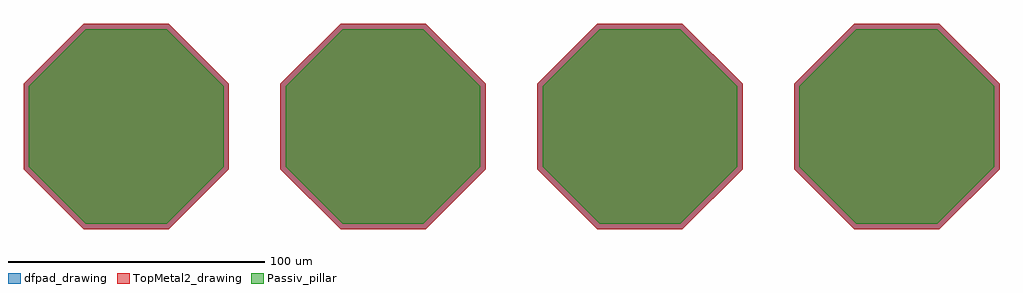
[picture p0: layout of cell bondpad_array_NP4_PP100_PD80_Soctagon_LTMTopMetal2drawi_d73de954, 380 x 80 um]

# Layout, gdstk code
import gdstk
lib = gdstk.Library(unit=1e-6, precision=1e-09)
def P(c, l, *ps):  # polygons
    for p in ps: c.add(gdstk.Polygon(p, *l))
Passiv_pillar = (9, 35)
dfpad_drawing = (41, 0)
TopMetal2_drawing = (134, 0)

bondpad_soctagon_d80_ltm = lib.new_cell('bondpad_Soctagon_D80_LTMTopMetal2drawing_LPPassivpillar_65fd9125')
P(bondpad_soctagon_d80_ltm, Passiv_pillar, [(-15.699,-37.9),(-37.9,-15.699),(-37.9,15.699),(-15.699,37.9),(15.699,37.9),(37.9,15.699),(37.9,-15.699),(15.699,-37.9)])
P(bondpad_soctagon_d80_ltm, dfpad_drawing, [(-16.569,-40),(-40,-16.569),(-40,16.569),(-16.569,40),(16.569,40),(40,16.569),(40,-16.569),(16.569,-40)])
P(bondpad_soctagon_d80_ltm, TopMetal2_drawing, [(-16.569,-40),(-40,-16.569),(-40,16.569),(-16.569,40),(16.569,40),(40,16.569),(40,-16.569),(16.569,-40)])

bondpad_array_np4_pp100_ = lib.new_cell('bondpad_array_NP4_PP100_PD80_Soctagon_LTMTopMetal2drawi_d73de954')
bondpad_array_np4_pp100_.add(gdstk.Reference(bondpad_soctagon_d80_ltm, (0,0)))
bondpad_array_np4_pp100_.add(gdstk.Reference(bondpad_soctagon_d80_ltm, (100,0)))
bondpad_array_np4_pp100_.add(gdstk.Reference(bondpad_soctagon_d80_ltm, (200,0)))
bondpad_array_np4_pp100_.add(gdstk.Reference(bondpad_soctagon_d80_ltm, (300,0)))

lib.write_gds('bondpad_array_NP4_PP100_PD80_Soctagon_LTMTopMetal2drawi_d73de954.gds')
